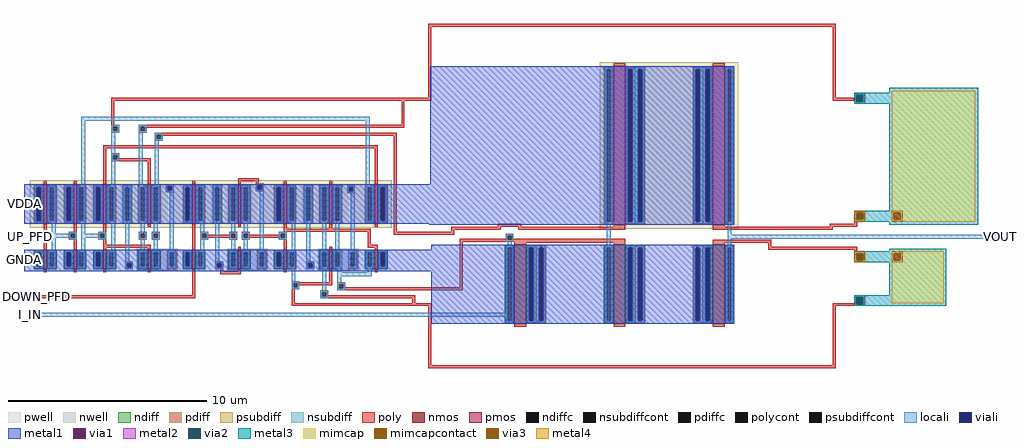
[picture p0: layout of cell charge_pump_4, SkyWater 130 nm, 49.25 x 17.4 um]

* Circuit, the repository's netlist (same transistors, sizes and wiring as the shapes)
* NGSPICE file created from charge_pump_4.ext - technology: sky130A

**.subckt charge_pump_4
X0 VDDA a_n6670_20# a_n6670_20# VDDA sky130_fd_pr__pfet_01v8 ad=1 pd=5 as=1 ps=5 w=2 l=0.15
X1 I_IN a_n4550_20# a_n4550_20# VDDA sky130_fd_pr__nfet_01v8 ad=0.5 pd=3 as=0.5 ps=3 w=1 l=0.15
X2 VDDA I_IN I_IN VDDA sky130_fd_pr__nfet_01v8 ad=2 pd=9 as=2 ps=9 w=4 l=0.6
X3 c1_1560_n320# li_1180_n350# sky130_fd_pr__cap_mim_m3_1 l=2.6 w=2.6
X4 a_n5470_20# DOWN_PFD VDDA VDDA sky130_fd_pr__pfet_01v8 ad=1 pd=5 as=1 ps=5 w=2 l=0.15
X5 a_n4550_20# a_n5010_20# VDDA VDDA sky130_fd_pr__nfet_01v8 ad=0.5 pd=3 as=0.5 ps=3 w=1 l=0.15
X6 a_n6370_20# a_n6670_20# VDDA VDDA sky130_fd_pr__pfet_01v8 ad=1 pd=5 as=1 ps=5 w=2 l=0.15
X7 VDDA I_IN a_n1350_n530# VDDA sky130_fd_pr__nfet_01v8 ad=2 pd=9 as=2 ps=9 w=4 l=0.6
X8 a_n5920_20# a_n6670_20# a_n6370_20# VDDA sky130_fd_pr__nfet_01v8 ad=0.5 pd=3 as=0.5 ps=3 w=1 l=0.15
X9 a_n6670_20# a_n6970_20# VDDA VDDA sky130_fd_pr__pfet_01v8 ad=1 pd=5 as=1 ps=5 w=2 l=0.15
X10 VDDA a_n5920_20# a_n1350_n530# VDDA sky130_fd_pr__pfet_01v8 ad=4 pd=17 as=4 ps=17 w=8 l=0.6
X11 I_IN a_n5010_20# a_n4550_20# VDDA sky130_fd_pr__pfet_01v8 ad=1 pd=5 as=1 ps=5 w=2 l=0.15
X12 VOUT a_n250_420# VDDA VDDA sky130_fd_pr__pfet_01v8 ad=4 pd=17 as=4 ps=17 w=8 l=0.6
X13 a_n6970_20# UP_PFD VDDA VDDA sky130_fd_pr__pfet_01v8 ad=1 pd=5 as=1 ps=5 w=2 l=0.15
X14 a_n6370_20# a_n6670_20# VDDA VDDA sky130_fd_pr__nfet_01v8 ad=0.5 pd=3 as=0.5 ps=3 w=1 l=0.15
X15 a_n5010_20# VDDA a_n5470_20# VDDA sky130_fd_pr__nfet_01v8 ad=0.5 pd=3 as=0.5 ps=3 w=1 l=0.15
X16 a_n5470_20# DOWN_PFD VDDA VDDA sky130_fd_pr__nfet_01v8 ad=0.5 pd=3 as=0.5 ps=3 w=1 l=0.15
X17 VOUT a_n250_n560# VDDA VDDA sky130_fd_pr__nfet_01v8 ad=2 pd=9 as=2 ps=9 w=4 l=0.6
X18 a_n4550_20# a_n5010_20# VDDA VDDA sky130_fd_pr__pfet_01v8 ad=1 pd=5 as=1 ps=5 w=2 l=0.15
X19 a_n6670_20# a_n6970_20# VDDA VDDA sky130_fd_pr__nfet_01v8 ad=0.5 pd=3 as=0.5 ps=3 w=1 l=0.15
X20 VDDA a_n5010_20# I_IN VDDA sky130_fd_pr__nfet_01v8 ad=0.5 pd=3 as=0.5 ps=3 w=1 l=0.15
X21 c1_1560_500# li_1180_500# sky130_fd_pr__cap_mim_m3_1 l=6.6 w=4.2
X22 a_n5010_20# VDDA a_n5470_20# VDDA sky130_fd_pr__pfet_01v8 ad=1 pd=5 as=1 ps=5 w=2 l=0.15
X23 a_n6970_20# UP_PFD VDDA VDDA sky130_fd_pr__nfet_01v8 ad=0.5 pd=3 as=0.5 ps=3 w=1 l=0.15
X24 a_n5920_20# a_n6370_20# a_n6370_20# VDDA sky130_fd_pr__pfet_01v8 ad=1 pd=5 as=1 ps=5 w=2 l=0.15
.ends

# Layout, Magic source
magic
tech sky130A
<< nwell >>
rect -3570 220 -1745 460
rect -695 215 5 1055
<< pwell >>
rect -3030 5 -2825 115
rect -2575 5 -2370 115
rect -2115 5 -1910 115
<< nmos >>
rect -3500 10 -3485 110
rect -3350 10 -3335 110
rect -3200 10 -3185 110
rect -2975 10 -2960 110
rect -2750 10 -2735 110
rect -2520 10 -2505 110
rect -2290 10 -2275 110
rect -2060 10 -2045 110
rect -1830 10 -1815 110
rect -1125 -265 -1065 135
rect -625 -265 -565 135
rect -125 -265 -65 135
<< pmos >>
rect -3500 240 -3485 440
rect -3350 240 -3335 440
rect -3200 240 -3185 440
rect -2975 240 -2960 440
rect -2750 240 -2735 440
rect -2520 240 -2505 440
rect -2290 240 -2275 440
rect -2060 240 -2045 440
rect -1830 240 -1815 440
rect -625 235 -565 1035
rect -125 235 -65 1035
<< ndiff >>
rect -3550 95 -3500 110
rect -3550 25 -3535 95
rect -3515 25 -3500 95
rect -3550 10 -3500 25
rect -3485 95 -3435 110
rect -3485 25 -3470 95
rect -3450 25 -3435 95
rect -3485 10 -3435 25
rect -3400 95 -3350 110
rect -3400 25 -3385 95
rect -3365 25 -3350 95
rect -3400 10 -3350 25
rect -3335 95 -3285 110
rect -3335 25 -3320 95
rect -3300 25 -3285 95
rect -3335 10 -3285 25
rect -3250 95 -3200 110
rect -3250 25 -3235 95
rect -3215 25 -3200 95
rect -3250 10 -3200 25
rect -3185 95 -3135 110
rect -3185 25 -3170 95
rect -3150 25 -3135 95
rect -3025 95 -2975 110
rect -3185 10 -3135 25
rect -3025 25 -3010 95
rect -2990 25 -2975 95
rect -3025 10 -2975 25
rect -2960 95 -2910 110
rect -2960 25 -2945 95
rect -2925 25 -2910 95
rect -2960 10 -2910 25
rect -2800 95 -2750 110
rect -2800 25 -2785 95
rect -2765 25 -2750 95
rect -2800 10 -2750 25
rect -2735 95 -2685 110
rect -2735 25 -2720 95
rect -2700 25 -2685 95
rect -2570 95 -2520 110
rect -2735 10 -2685 25
rect -2570 25 -2555 95
rect -2535 25 -2520 95
rect -2570 10 -2520 25
rect -2505 95 -2455 110
rect -2505 25 -2490 95
rect -2470 25 -2455 95
rect -2505 10 -2455 25
rect -2340 95 -2290 110
rect -2340 25 -2325 95
rect -2305 25 -2290 95
rect -2340 10 -2290 25
rect -2275 95 -2225 110
rect -2275 25 -2260 95
rect -2240 25 -2225 95
rect -2110 95 -2060 110
rect -2275 10 -2225 25
rect -2110 25 -2095 95
rect -2075 25 -2060 95
rect -2110 10 -2060 25
rect -2045 95 -1995 110
rect -2045 25 -2030 95
rect -2010 25 -1995 95
rect -2045 10 -1995 25
rect -1880 95 -1830 110
rect -1880 25 -1865 95
rect -1845 25 -1830 95
rect -1880 10 -1830 25
rect -1815 95 -1765 110
rect -1815 25 -1800 95
rect -1780 25 -1765 95
rect -1815 10 -1765 25
rect -1175 120 -1125 135
rect -1175 -250 -1160 120
rect -1140 -250 -1125 120
rect -1175 -265 -1125 -250
rect -1065 120 -1015 135
rect -1065 -250 -1050 120
rect -1030 -250 -1015 120
rect -1065 -265 -1015 -250
rect -675 120 -625 135
rect -675 -250 -660 120
rect -640 -250 -625 120
rect -675 -265 -625 -250
rect -565 120 -515 135
rect -565 -250 -550 120
rect -530 -250 -515 120
rect -565 -265 -515 -250
rect -175 120 -125 135
rect -175 -250 -160 120
rect -140 -250 -125 120
rect -175 -265 -125 -250
rect -65 120 -15 135
rect -65 -250 -50 120
rect -30 -250 -15 120
rect -65 -265 -15 -250
<< pdiff >>
rect -675 1020 -625 1035
rect -3550 425 -3500 440
rect -3550 255 -3535 425
rect -3515 255 -3500 425
rect -3550 240 -3500 255
rect -3485 425 -3435 440
rect -3485 255 -3470 425
rect -3450 255 -3435 425
rect -3485 240 -3435 255
rect -3400 425 -3350 440
rect -3400 255 -3385 425
rect -3365 255 -3350 425
rect -3400 240 -3350 255
rect -3335 425 -3285 440
rect -3335 255 -3320 425
rect -3300 255 -3285 425
rect -3335 240 -3285 255
rect -3250 425 -3200 440
rect -3250 255 -3235 425
rect -3215 255 -3200 425
rect -3250 240 -3200 255
rect -3185 425 -3135 440
rect -3185 255 -3170 425
rect -3150 255 -3135 425
rect -3185 240 -3135 255
rect -3025 425 -2975 440
rect -3025 255 -3010 425
rect -2990 255 -2975 425
rect -3025 240 -2975 255
rect -2960 425 -2910 440
rect -2960 255 -2945 425
rect -2925 255 -2910 425
rect -2800 425 -2750 440
rect -2960 240 -2910 255
rect -2800 255 -2785 425
rect -2765 255 -2750 425
rect -2800 240 -2750 255
rect -2735 425 -2685 440
rect -2735 255 -2720 425
rect -2700 255 -2685 425
rect -2735 240 -2685 255
rect -2570 425 -2520 440
rect -2570 255 -2555 425
rect -2535 255 -2520 425
rect -2570 240 -2520 255
rect -2505 425 -2455 440
rect -2505 255 -2490 425
rect -2470 255 -2455 425
rect -2340 425 -2290 440
rect -2505 240 -2455 255
rect -2340 255 -2325 425
rect -2305 255 -2290 425
rect -2340 240 -2290 255
rect -2275 425 -2225 440
rect -2275 255 -2260 425
rect -2240 255 -2225 425
rect -2275 240 -2225 255
rect -2110 425 -2060 440
rect -2110 255 -2095 425
rect -2075 255 -2060 425
rect -2110 240 -2060 255
rect -2045 425 -1995 440
rect -2045 255 -2030 425
rect -2010 255 -1995 425
rect -1880 425 -1830 440
rect -2045 240 -1995 255
rect -1880 255 -1865 425
rect -1845 255 -1830 425
rect -1880 240 -1830 255
rect -1815 425 -1765 440
rect -1815 255 -1800 425
rect -1780 255 -1765 425
rect -1815 240 -1765 255
rect -675 250 -660 1020
rect -640 250 -625 1020
rect -675 235 -625 250
rect -565 1020 -515 1035
rect -565 250 -550 1020
rect -530 250 -515 1020
rect -565 235 -515 250
rect -175 1020 -125 1035
rect -175 250 -160 1020
rect -140 250 -125 1020
rect -175 235 -125 250
rect -65 1020 -15 1035
rect -65 250 -50 1020
rect -30 250 -15 1020
rect -65 235 -15 250
<< ndiffc >>
rect -3535 25 -3515 95
rect -3470 25 -3450 95
rect -3385 25 -3365 95
rect -3320 25 -3300 95
rect -3235 25 -3215 95
rect -3170 25 -3150 95
rect -3010 25 -2990 95
rect -2945 25 -2925 95
rect -2785 25 -2765 95
rect -2720 25 -2700 95
rect -2555 25 -2535 95
rect -2490 25 -2470 95
rect -2325 25 -2305 95
rect -2260 25 -2240 95
rect -2095 25 -2075 95
rect -2030 25 -2010 95
rect -1865 25 -1845 95
rect -1800 25 -1780 95
rect -1160 -250 -1140 120
rect -1050 -250 -1030 120
rect -660 -250 -640 120
rect -550 -250 -530 120
rect -160 -250 -140 120
rect -50 -250 -30 120
<< pdiffc >>
rect -3535 255 -3515 425
rect -3470 255 -3450 425
rect -3385 255 -3365 425
rect -3320 255 -3300 425
rect -3235 255 -3215 425
rect -3170 255 -3150 425
rect -3010 255 -2990 425
rect -2945 255 -2925 425
rect -2785 255 -2765 425
rect -2720 255 -2700 425
rect -2555 255 -2535 425
rect -2490 255 -2470 425
rect -2325 255 -2305 425
rect -2260 255 -2240 425
rect -2095 255 -2075 425
rect -2030 255 -2010 425
rect -1865 255 -1845 425
rect -1800 255 -1780 425
rect -660 250 -640 1020
rect -550 250 -530 1020
rect -160 250 -140 1020
rect -50 250 -30 1020
<< psubdiff >>
rect -2880 95 -2830 110
rect -2880 25 -2865 95
rect -2845 25 -2830 95
rect -2880 10 -2830 25
rect -2425 95 -2375 110
rect -2425 25 -2410 95
rect -2390 25 -2375 95
rect -2425 10 -2375 25
rect -1965 95 -1915 110
rect -1965 25 -1950 95
rect -1930 25 -1915 95
rect -1965 10 -1915 25
rect -1015 120 -965 135
rect -1015 -250 -1000 120
rect -980 -250 -965 120
rect -1015 -265 -965 -250
rect -515 120 -465 135
rect -515 -250 -500 120
rect -480 -250 -465 120
rect -515 -265 -465 -250
rect -225 120 -175 135
rect -225 -250 -210 120
rect -190 -250 -175 120
rect -225 -265 -175 -250
<< nsubdiff >>
rect -3105 425 -3055 440
rect -3105 255 -3090 425
rect -3070 255 -3055 425
rect -3105 240 -3055 255
rect -2650 425 -2600 440
rect -2650 255 -2635 425
rect -2615 255 -2600 425
rect -2650 240 -2600 255
rect -2190 425 -2140 440
rect -2190 255 -2175 425
rect -2155 255 -2140 425
rect -2190 240 -2140 255
rect -515 1020 -465 1035
rect -515 250 -500 1020
rect -480 250 -465 1020
rect -515 235 -465 250
rect -225 1020 -175 1035
rect -225 250 -210 1020
rect -190 250 -175 1020
rect -225 235 -175 250
<< psubdiffcont >>
rect -2865 25 -2845 95
rect -2410 25 -2390 95
rect -1950 25 -1930 95
rect -1000 -250 -980 120
rect -500 -250 -480 120
rect -210 -250 -190 120
<< nsubdiffcont >>
rect -3090 255 -3070 425
rect -2635 255 -2615 425
rect -2175 255 -2155 425
rect -500 250 -480 1020
rect -210 250 -190 1020
<< poly >>
rect -1560 1235 495 1250
rect -1560 875 -1545 1235
rect -625 1035 -565 1050
rect -125 1035 -65 1050
rect -3160 860 -1545 875
rect -3160 740 -3145 860
rect -1695 740 -1680 860
rect -3160 730 -3120 740
rect -3160 710 -3150 730
rect -3130 710 -3120 730
rect -3160 700 -3120 710
rect -3020 730 -1680 740
rect -3020 710 -3010 730
rect -2990 725 -1680 730
rect -2990 710 -2980 725
rect -3020 700 -2980 710
rect -2940 690 -1720 700
rect -2940 670 -2930 690
rect -2910 685 -1720 690
rect -2910 670 -2900 685
rect -2940 660 -2900 670
rect -3200 620 -1815 635
rect -3500 440 -3485 455
rect -3350 440 -3335 455
rect -3200 440 -3185 620
rect -3160 585 -3120 595
rect -3160 565 -3150 585
rect -3130 570 -3120 585
rect -3130 565 -2960 570
rect -3160 555 -2960 565
rect -2975 440 -2960 555
rect -2520 455 -2415 470
rect -2750 440 -2735 455
rect -2520 440 -2505 455
rect -2430 445 -2415 455
rect -2885 430 -2845 440
rect -2885 410 -2875 430
rect -2855 410 -2845 430
rect -2885 400 -2845 410
rect -2430 435 -2390 445
rect -2290 440 -2275 455
rect -2060 440 -2045 455
rect -1830 440 -1815 620
rect -2430 415 -2420 435
rect -2400 415 -2390 435
rect -2430 405 -2390 415
rect -1970 425 -1930 435
rect -1970 405 -1960 425
rect -1940 405 -1930 425
rect -1970 395 -1930 405
rect -3500 185 -3485 240
rect -3350 200 -3335 240
rect -3200 200 -3185 240
rect -2975 225 -2960 240
rect -3565 170 -3485 185
rect -3500 110 -3485 170
rect -3375 190 -3335 200
rect -3375 170 -3365 190
rect -3345 170 -3335 190
rect -3375 160 -3335 170
rect -3225 190 -3185 200
rect -3225 170 -3215 190
rect -3195 170 -3185 190
rect -3225 160 -3185 170
rect -3020 190 -2980 200
rect -3020 170 -3010 190
rect -2990 170 -2980 190
rect -3020 160 -2980 170
rect -2955 190 -2915 200
rect -2955 170 -2945 190
rect -2925 170 -2915 190
rect -2955 160 -2915 170
rect -3350 110 -3335 160
rect -3200 135 -3185 160
rect -3200 120 -2960 135
rect -3200 110 -3185 120
rect -2975 110 -2960 120
rect -2750 110 -2735 240
rect -2520 225 -2505 240
rect -2290 215 -2275 240
rect -2060 215 -2045 240
rect -1830 225 -1815 240
rect -2290 200 -1850 215
rect -2710 190 -2670 200
rect -2710 170 -2700 190
rect -2680 185 -2670 190
rect -2565 190 -2525 200
rect -2565 185 -2555 190
rect -2680 170 -2555 185
rect -2535 170 -2525 190
rect -2710 160 -2670 170
rect -2565 160 -2525 170
rect -2500 190 -2460 200
rect -2500 170 -2490 190
rect -2470 185 -2460 190
rect -2315 190 -2275 200
rect -2315 185 -2305 190
rect -2470 170 -2305 185
rect -2285 170 -2275 190
rect -2500 160 -2460 170
rect -2315 160 -2275 170
rect -2520 110 -2505 125
rect -2290 110 -2275 160
rect -1865 135 -1850 200
rect -1735 200 -1720 685
rect -1210 225 -1090 240
rect 480 875 495 1235
rect 480 860 590 875
rect 590 240 605 250
rect -625 225 -565 235
rect -1445 210 -1195 225
rect -1105 210 -565 225
rect -125 225 -65 235
rect 465 225 605 240
rect -125 210 480 225
rect -1445 200 -1430 210
rect -1735 185 -1430 200
rect -1170 180 -1130 190
rect -1170 165 -1160 180
rect -1400 160 -1160 165
rect -1140 165 -1130 180
rect -1140 160 -565 165
rect -1400 150 -565 160
rect -2060 110 -2045 125
rect -1865 120 -1815 135
rect -1830 110 -1815 120
rect -3090 40 -3050 50
rect -3090 20 -3080 40
rect -3060 20 -3050 40
rect -3090 10 -3050 20
rect -2635 40 -2595 50
rect -2635 20 -2625 40
rect -2605 20 -2595 40
rect -2635 10 -2595 20
rect -2175 40 -2135 50
rect -2175 20 -2165 40
rect -2145 20 -2135 40
rect -2175 10 -2135 20
rect -3500 -5 -3485 10
rect -3350 -5 -3335 10
rect -3200 -5 -3185 10
rect -2975 -5 -2960 10
rect -2750 -120 -2735 10
rect -2610 0 -2595 10
rect -2520 0 -2505 10
rect -2610 -15 -2505 0
rect -2290 -5 -2275 10
rect -3565 -135 -2735 -120
rect -2250 -55 -2210 -50
rect -2060 -55 -2045 10
rect -1830 -5 -1815 10
rect -2250 -60 -2045 -55
rect -2250 -80 -2240 -60
rect -2220 -70 -2045 -60
rect -2020 -65 -1980 -55
rect -2220 -80 -2210 -70
rect -2250 -90 -2210 -80
rect -2020 -85 -2010 -65
rect -1990 -80 -1980 -65
rect -1400 -80 -1385 150
rect -1125 145 -565 150
rect -1125 135 -1065 145
rect -625 135 -565 145
rect -125 145 170 160
rect -125 135 -65 145
rect -1990 -85 -1385 -80
rect -2250 -160 -2235 -90
rect -2020 -95 -1385 -85
rect -2105 -105 -2065 -95
rect -2105 -125 -2095 -105
rect -2075 -120 -2065 -105
rect -2075 -125 -1625 -120
rect -2105 -135 -1625 -125
rect -1640 -160 -1625 -135
rect -2250 -175 -1545 -160
rect -1560 -475 -1545 -175
rect 155 125 170 145
rect 155 110 605 125
rect 590 100 605 110
rect 480 -175 590 -160
rect -1125 -280 -1065 -265
rect -625 -280 -565 -265
rect -125 -280 -65 -265
rect 480 -475 495 -175
rect -1560 -490 495 -475
<< polycont >>
rect -3150 710 -3130 730
rect -3010 710 -2990 730
rect -2930 670 -2910 690
rect -3150 565 -3130 585
rect -2875 410 -2855 430
rect -2420 415 -2400 435
rect -1960 405 -1940 425
rect -3365 170 -3345 190
rect -3215 170 -3195 190
rect -3010 170 -2990 190
rect -2945 170 -2925 190
rect -2700 170 -2680 190
rect -2555 170 -2535 190
rect -2490 170 -2470 190
rect -2305 170 -2285 190
rect -1160 160 -1140 180
rect -3080 20 -3060 40
rect -2625 20 -2605 40
rect -2165 20 -2145 40
rect -2240 -80 -2220 -60
rect -2010 -85 -1990 -65
rect -2095 -125 -2075 -105
<< locali >>
rect -670 1020 -630 1030
rect -3310 760 -1855 780
rect -3310 435 -3290 760
rect -3160 730 -3120 740
rect -3160 710 -3150 730
rect -3130 710 -3120 730
rect -3160 700 -3120 710
rect -3020 730 -2980 740
rect -3020 710 -3010 730
rect -2990 710 -2980 730
rect -3020 700 -2980 710
rect -3160 595 -3140 700
rect -3160 585 -3120 595
rect -3160 565 -3150 585
rect -3130 565 -3120 585
rect -3160 555 -3120 565
rect -3160 435 -3140 555
rect -3020 435 -3000 700
rect -2940 690 -2900 700
rect -2940 670 -2930 690
rect -2910 670 -2900 690
rect -2940 660 -2900 670
rect -2940 435 -2920 660
rect -3545 425 -3505 435
rect -3545 255 -3535 425
rect -3515 255 -3505 425
rect -3545 245 -3505 255
rect -3480 425 -3440 435
rect -3480 255 -3470 425
rect -3450 255 -3440 425
rect -3480 245 -3440 255
rect -3395 425 -3355 435
rect -3395 255 -3385 425
rect -3365 255 -3355 425
rect -3395 245 -3355 255
rect -3330 425 -3290 435
rect -3330 255 -3320 425
rect -3300 255 -3290 425
rect -3330 245 -3290 255
rect -3245 425 -3205 435
rect -3245 255 -3235 425
rect -3215 255 -3205 425
rect -3245 245 -3205 255
rect -3180 425 -3140 435
rect -3180 255 -3170 425
rect -3150 255 -3140 425
rect -3180 245 -3140 255
rect -3100 425 -3060 435
rect -3100 255 -3090 425
rect -3070 255 -3060 425
rect -3100 245 -3060 255
rect -3020 425 -2980 435
rect -3020 255 -3010 425
rect -2990 255 -2980 425
rect -3020 245 -2980 255
rect -2955 425 -2915 435
rect -2955 255 -2945 425
rect -2925 255 -2915 425
rect -2885 430 -2845 440
rect -2430 435 -2390 445
rect -1875 435 -1855 760
rect -2885 410 -2875 430
rect -2855 410 -2845 430
rect -2885 400 -2845 410
rect -2955 245 -2915 255
rect -3460 190 -3440 245
rect -3375 190 -3335 200
rect -3460 170 -3365 190
rect -3345 170 -3335 190
rect -3460 105 -3440 170
rect -3375 160 -3335 170
rect -3310 190 -3290 245
rect -3225 190 -3185 200
rect -3310 170 -3215 190
rect -3195 170 -3185 190
rect -3310 105 -3290 170
rect -3225 160 -3185 170
rect -3160 105 -3140 245
rect -3545 95 -3505 105
rect -3545 25 -3535 95
rect -3515 25 -3505 95
rect -3545 15 -3505 25
rect -3480 95 -3440 105
rect -3480 25 -3470 95
rect -3450 25 -3440 95
rect -3480 15 -3440 25
rect -3395 95 -3355 105
rect -3395 25 -3385 95
rect -3365 25 -3355 95
rect -3395 15 -3355 25
rect -3330 95 -3290 105
rect -3330 25 -3320 95
rect -3300 25 -3290 95
rect -3330 15 -3290 25
rect -3245 95 -3205 105
rect -3245 25 -3235 95
rect -3215 25 -3205 95
rect -3245 15 -3205 25
rect -3180 95 -3140 105
rect -3180 25 -3170 95
rect -3150 25 -3140 95
rect -3180 15 -3140 25
rect -3090 50 -3070 245
rect -3010 200 -2990 245
rect -2945 200 -2925 245
rect -3020 190 -2980 200
rect -3020 170 -3010 190
rect -2990 170 -2980 190
rect -3020 160 -2980 170
rect -2955 190 -2915 200
rect -2955 170 -2945 190
rect -2925 170 -2915 190
rect -2955 160 -2915 170
rect -3010 105 -2990 160
rect -2945 105 -2925 160
rect -2865 105 -2845 400
rect -2795 425 -2755 435
rect -2795 255 -2785 425
rect -2765 255 -2755 425
rect -2795 245 -2755 255
rect -2730 425 -2690 435
rect -2730 255 -2720 425
rect -2700 255 -2690 425
rect -2730 245 -2690 255
rect -2645 425 -2605 435
rect -2645 255 -2635 425
rect -2615 255 -2605 425
rect -2645 245 -2605 255
rect -2565 425 -2525 435
rect -2565 255 -2555 425
rect -2535 255 -2525 425
rect -2565 245 -2525 255
rect -2500 425 -2460 435
rect -2500 255 -2490 425
rect -2470 255 -2460 425
rect -2430 415 -2420 435
rect -2400 415 -2390 435
rect -2430 405 -2390 415
rect -2500 245 -2460 255
rect -2710 200 -2690 245
rect -2710 190 -2670 200
rect -2710 170 -2700 190
rect -2680 170 -2670 190
rect -2710 160 -2670 170
rect -2710 105 -2690 160
rect -3020 95 -2980 105
rect -3090 40 -3050 50
rect -3090 20 -3080 40
rect -3060 20 -3050 40
rect -3090 10 -3050 20
rect -3020 25 -3010 95
rect -2990 25 -2980 95
rect -3020 15 -2980 25
rect -2955 95 -2915 105
rect -2955 25 -2945 95
rect -2925 25 -2915 95
rect -2955 15 -2915 25
rect -2875 95 -2835 105
rect -2875 25 -2865 95
rect -2845 25 -2835 95
rect -2875 15 -2835 25
rect -2795 95 -2755 105
rect -2795 25 -2785 95
rect -2765 25 -2755 95
rect -2795 15 -2755 25
rect -2730 95 -2690 105
rect -2730 25 -2720 95
rect -2700 25 -2690 95
rect -2730 15 -2690 25
rect -2635 50 -2615 245
rect -2555 200 -2535 245
rect -2490 200 -2470 245
rect -2565 190 -2525 200
rect -2565 170 -2555 190
rect -2535 170 -2525 190
rect -2565 160 -2525 170
rect -2500 190 -2460 200
rect -2500 170 -2490 190
rect -2470 170 -2460 190
rect -2500 160 -2460 170
rect -2555 105 -2535 160
rect -2490 105 -2470 160
rect -2410 105 -2390 405
rect -2335 425 -2295 435
rect -2335 255 -2325 425
rect -2305 255 -2295 425
rect -2335 245 -2295 255
rect -2270 425 -2230 435
rect -2270 255 -2260 425
rect -2240 255 -2230 425
rect -2270 245 -2230 255
rect -2185 425 -2145 435
rect -2185 255 -2175 425
rect -2155 255 -2145 425
rect -2185 245 -2145 255
rect -2105 425 -2065 435
rect -2105 255 -2095 425
rect -2075 255 -2065 425
rect -2105 245 -2065 255
rect -2040 425 -2000 435
rect -2040 255 -2030 425
rect -2010 255 -2000 425
rect -1970 425 -1930 435
rect -1970 405 -1960 425
rect -1940 405 -1930 425
rect -1970 395 -1930 405
rect -2040 245 -2000 255
rect -2315 190 -2275 200
rect -2315 170 -2305 190
rect -2285 170 -2275 190
rect -2315 160 -2275 170
rect -2250 105 -2230 245
rect -2565 95 -2525 105
rect -2635 40 -2595 50
rect -2635 20 -2625 40
rect -2605 20 -2595 40
rect -2635 10 -2595 20
rect -2565 25 -2555 95
rect -2535 25 -2525 95
rect -2565 15 -2525 25
rect -2500 95 -2460 105
rect -2500 25 -2490 95
rect -2470 25 -2460 95
rect -2500 15 -2460 25
rect -2420 95 -2380 105
rect -2420 25 -2410 95
rect -2390 25 -2380 95
rect -2420 15 -2380 25
rect -2335 95 -2295 105
rect -2335 25 -2325 95
rect -2305 25 -2295 95
rect -2335 15 -2295 25
rect -2270 95 -2230 105
rect -2270 25 -2260 95
rect -2240 25 -2230 95
rect -2270 15 -2230 25
rect -2250 -50 -2230 15
rect -2175 50 -2155 245
rect -2095 105 -2075 245
rect -2030 105 -2010 245
rect -1950 105 -1930 395
rect -1875 425 -1835 435
rect -1875 255 -1865 425
rect -1845 255 -1835 425
rect -1875 245 -1835 255
rect -1810 425 -1770 435
rect -1810 255 -1800 425
rect -1780 255 -1770 425
rect -1810 245 -1770 255
rect -670 250 -660 1020
rect -640 250 -630 1020
rect -670 240 -630 250
rect -560 1020 -470 1030
rect -560 250 -550 1020
rect -530 250 -500 1020
rect -480 250 -470 1020
rect -560 240 -470 250
rect -220 1020 -130 1030
rect -220 250 -210 1020
rect -190 250 -160 1020
rect -140 250 -130 1020
rect -220 240 -130 250
rect -60 1020 -20 1030
rect -60 250 -50 1020
rect -30 250 -20 1020
rect 590 890 645 900
rect 590 855 600 890
rect 635 855 645 890
rect 590 845 645 855
rect 590 295 645 305
rect 590 260 600 295
rect 635 260 645 295
rect 590 250 645 260
rect -60 240 -20 250
rect -1170 180 -1130 190
rect -1170 160 -1160 180
rect -1140 160 -1130 180
rect -1170 150 -1130 160
rect -1160 130 -1140 150
rect -660 130 -640 240
rect -50 185 -30 240
rect -50 165 1325 185
rect -50 130 -30 165
rect -1170 120 -1130 130
rect -2105 95 -2065 105
rect -2175 40 -2135 50
rect -2175 20 -2165 40
rect -2145 20 -2135 40
rect -2175 10 -2135 20
rect -2105 25 -2095 95
rect -2075 25 -2065 95
rect -2105 15 -2065 25
rect -2040 95 -1995 105
rect -2040 25 -2030 95
rect -2010 25 -1995 95
rect -2040 15 -1995 25
rect -1965 95 -1920 105
rect -1965 25 -1950 95
rect -1930 25 -1920 95
rect -1965 15 -1920 25
rect -1875 95 -1835 105
rect -1875 25 -1865 95
rect -1845 25 -1835 95
rect -1875 15 -1835 25
rect -1810 95 -1770 105
rect -1810 25 -1800 95
rect -1780 25 -1770 95
rect -1810 15 -1770 25
rect -2250 -60 -2210 -50
rect -2250 -80 -2240 -60
rect -2220 -80 -2210 -60
rect -2250 -90 -2210 -80
rect -2095 -95 -2075 15
rect -2020 -5 -2000 15
rect -1865 -5 -1845 15
rect -2020 -25 -1845 -5
rect -2020 -55 -2000 -25
rect -2020 -65 -1980 -55
rect -2020 -85 -2010 -65
rect -1990 -85 -1980 -65
rect -2020 -95 -1980 -85
rect -2105 -105 -2065 -95
rect -2105 -125 -2095 -105
rect -2075 -125 -2065 -105
rect -2105 -135 -2065 -125
rect -1170 -210 -1160 120
rect -3565 -230 -1160 -210
rect -1170 -250 -1160 -230
rect -1140 -250 -1130 120
rect -1170 -260 -1130 -250
rect -1060 120 -970 130
rect -1060 -250 -1050 120
rect -1030 -250 -1000 120
rect -980 -250 -970 120
rect -1060 -260 -970 -250
rect -670 120 -630 130
rect -670 -250 -660 120
rect -640 -250 -630 120
rect -670 -260 -630 -250
rect -560 120 -470 130
rect -560 -250 -550 120
rect -530 -250 -500 120
rect -480 -250 -470 120
rect -560 -260 -470 -250
rect -220 120 -130 130
rect -220 -250 -210 120
rect -190 -250 -160 120
rect -140 -250 -130 120
rect -220 -260 -130 -250
rect -60 120 -20 130
rect -60 -250 -50 120
rect -30 -250 -20 120
rect 590 90 645 100
rect 590 55 600 90
rect 635 55 645 90
rect 590 45 645 55
rect 590 -130 645 -120
rect 590 -165 600 -130
rect 635 -165 645 -130
rect 590 -175 645 -165
rect -60 -260 -20 -250
<< viali >>
rect -3535 255 -3515 425
rect -3385 255 -3365 425
rect -3235 255 -3215 425
rect -2875 410 -2855 430
rect -3535 25 -3515 95
rect -3385 25 -3365 95
rect -3235 25 -3215 95
rect -2785 255 -2765 425
rect -2420 415 -2400 435
rect -3080 20 -3060 40
rect -2785 25 -2765 95
rect -2325 255 -2305 425
rect -1960 405 -1940 425
rect -2625 20 -2605 40
rect -2325 25 -2305 95
rect -1800 255 -1780 425
rect -550 250 -530 1020
rect -500 250 -480 1020
rect -210 250 -190 1020
rect -160 250 -140 1020
rect 600 855 635 890
rect 600 260 635 295
rect -2165 20 -2145 40
rect -1800 25 -1780 95
rect -1050 -250 -1030 120
rect -1000 -250 -980 120
rect -550 -250 -530 120
rect -500 -250 -480 120
rect -210 -250 -190 120
rect -160 -250 -140 120
rect 600 55 635 90
rect 600 -165 635 -130
<< metal1 >>
rect -1550 1020 -15 1035
rect -1550 440 -550 1020
rect -3600 435 -550 440
rect -3600 430 -2420 435
rect -3600 425 -2875 430
rect -3600 255 -3535 425
rect -3515 255 -3385 425
rect -3365 255 -3235 425
rect -3215 410 -2875 425
rect -2855 425 -2420 430
rect -2855 410 -2785 425
rect -3215 255 -2785 410
rect -2765 415 -2420 425
rect -2400 425 -550 435
rect -2400 415 -2325 425
rect -2765 255 -2325 415
rect -2305 405 -1960 425
rect -1940 405 -1800 425
rect -2305 255 -1800 405
rect -1780 255 -550 425
rect -3600 250 -550 255
rect -530 250 -500 1020
rect -480 250 -210 1020
rect -190 250 -160 1020
rect -140 250 -15 1020
rect 590 890 645 900
rect 590 855 600 890
rect 635 855 645 890
rect 590 845 645 855
rect 590 295 645 305
rect 590 260 600 295
rect 635 260 645 295
rect 590 250 645 260
rect -3600 240 -15 250
rect -1555 235 -15 240
rect -1545 120 -15 135
rect -1545 110 -1050 120
rect -3600 95 -1050 110
rect -3600 25 -3535 95
rect -3515 25 -3385 95
rect -3365 25 -3235 95
rect -3215 40 -2785 95
rect -3215 25 -3080 40
rect -3600 20 -3080 25
rect -3060 25 -2785 40
rect -2765 40 -2325 95
rect -2765 25 -2625 40
rect -3060 20 -2625 25
rect -2605 25 -2325 40
rect -2305 40 -1800 95
rect -2305 25 -2165 40
rect -2605 20 -2165 25
rect -2145 25 -1800 40
rect -1780 25 -1050 95
rect -2145 20 -1050 25
rect -3600 0 -1050 20
rect -1545 -250 -1050 0
rect -1030 -250 -1000 120
rect -980 -250 -550 120
rect -530 -250 -500 120
rect -480 -250 -210 120
rect -190 -250 -160 120
rect -140 -250 -15 120
rect 590 90 645 100
rect 590 55 600 90
rect 635 55 645 90
rect 590 45 645 55
rect 590 -130 645 -120
rect 590 -165 600 -130
rect 635 -165 645 -130
rect 590 -175 645 -165
rect -1545 -265 -15 -250
<< via1 >>
rect 600 855 635 890
rect 600 260 635 295
rect 600 55 635 90
rect 600 -165 635 -130
<< metal2 >>
rect 590 890 645 900
rect 590 855 600 890
rect 635 855 645 890
rect 590 845 645 855
rect 590 295 645 305
rect 590 260 600 295
rect 635 260 645 295
rect 590 250 645 260
rect 590 90 645 100
rect 590 55 600 90
rect 635 55 645 90
rect 590 45 645 55
rect 590 -130 645 -120
rect 590 -165 600 -130
rect 635 -165 645 -130
rect 590 -175 645 -165
<< via2 >>
rect 600 855 635 890
rect 600 260 635 295
rect 600 55 635 90
rect 600 -165 635 -130
<< metal3 >>
rect 765 900 1215 925
rect 590 890 1215 900
rect 590 855 600 890
rect 635 855 1215 890
rect 590 845 1215 855
rect 765 305 1215 845
rect 590 295 1215 305
rect 590 260 600 295
rect 635 260 1215 295
rect 590 250 1215 260
rect 765 235 1215 250
rect 765 100 1055 115
rect 590 90 1055 100
rect 590 55 600 90
rect 635 55 1055 90
rect 590 45 1055 55
rect 765 -120 1055 45
rect 590 -130 1055 -120
rect 590 -165 600 -130
rect 635 -165 1055 -130
rect 590 -175 1055 -165
<< via3 >>
rect 600 260 635 295
rect 600 55 635 90
<< mimcap >>
rect 780 295 1200 910
rect 780 260 790 295
rect 825 260 1200 295
rect 780 250 1200 260
rect 780 90 1040 100
rect 780 55 790 90
rect 825 55 1040 90
rect 780 -160 1040 55
<< mimcapcontact >>
rect 790 260 825 295
rect 790 55 825 90
<< metal4 >>
rect 590 295 645 305
rect 590 260 600 295
rect 635 260 645 295
rect 590 250 645 260
rect 780 295 835 305
rect 780 260 790 295
rect 825 260 835 295
rect 780 250 835 260
rect 590 90 645 100
rect 590 55 600 90
rect 635 55 645 90
rect 590 45 645 55
rect 780 90 835 100
rect 780 55 790 90
rect 825 55 835 90
rect 780 45 835 55
<< labels >>
flabel locali 1325 175 1325 175 3 FreeSans 400 0 80 0 VOUT
flabel locali -3565 -220 -3565 -220 7 FreeSans 400 0 -200 0 I_IN
flabel poly -3565 -125 -3565 -125 7 FreeSans 400 0 -200 0 DOWN_PFD
flabel poly -3565 175 -3565 175 7 FreeSans 400 0 -200 0 UP_PFD
flabel metal1 -3600 340 -3600 340 7 FreeSans 400 0 -200 0 VDDA
flabel metal1 -3600 60 -3600 60 7 FreeSans 400 0 -200 0 GNDA
<< end >>
